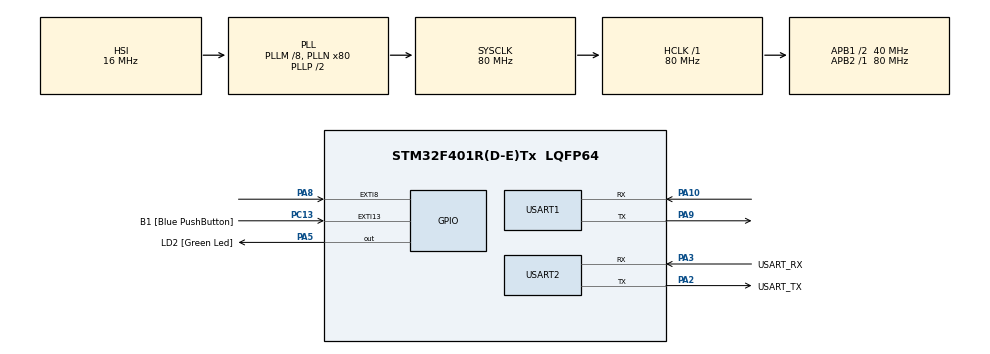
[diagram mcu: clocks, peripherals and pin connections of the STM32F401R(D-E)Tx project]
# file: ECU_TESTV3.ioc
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Mcu.Family=STM32F4
Mcu.Name=STM32F401R(D-E)Tx
Mcu.Package=LQFP64
NVIC.EXTI9_5_IRQn=true\:0\:0\:false\:false\:true\:true\:true\:true
NVIC.PriorityGroup=NVIC_PRIORITYGROUP_4
NVIC.TIM2_IRQn=true\:0\:0\:false\:false\:true\:true\:true\:true
PA10.Mode=Asynchronous
PA10.Signal=USART1_RX
PA13.GPIO_Label=TMS
PA13.Mode=Trace_Asynchronous_SW
PA13.Signal=SYS_JTMS-SWDIO
PA14.GPIO_Label=TCK
PA14.Mode=Trace_Asynchronous_SW
PA14.Signal=SYS_JTCK-SWCLK
PA2.GPIO_Label=USART_TX
PA2.GPIO_Mode=GPIO_MODE_AF_PP
PA2.GPIO_PuPd=GPIO_NOPULL
PA2.GPIO_Speed=GPIO_SPEED_FREQ_LOW
PA2.Mode=Asynchronous
PA2.Signal=USART2_TX
PA3.GPIO_Label=USART_RX
PA3.GPIO_Mode=GPIO_MODE_AF_PP
PA3.GPIO_PuPd=GPIO_NOPULL
PA3.GPIO_Speed=GPIO_SPEED_FREQ_LOW
PA3.Mode=Asynchronous
PA3.Signal=USART2_RX
PA5.GPIO_Label=LD2 [Green Led]
PA5.GPIO_Mode=GPIO_MODE_OUTPUT_PP
PA5.GPIO_PuPd=GPIO_NOPULL
PA5.GPIO_Speed=GPIO_SPEED_FREQ_LOW
PA5.Signal=GPIO_Output
PA8.GPIO_ModeDefaultEXTI=GPIO_MODE_IT_RISING
PA8.Signal=GPXTI8
PA9.Mode=Asynchronous
PA9.Signal=USART1_TX
PB3.GPIO_Label=SWO
PB3.Mode=Trace_Asynchronous_SW
PB3.Signal=SYS_JTDO-SWO
PC13-ANTI_TAMP.GPIO_Label=B1 [Blue PushButton]
PC13-ANTI_TAMP.GPIO_ModeDefaultEXTI=GPIO_MODE_IT_FALLING
PC13-ANTI_TAMP.GPIO_PuPd=GPIO_NOPULL
PC13-ANTI_TAMP.Signal=GPXTI13
PC14-OSC32_IN.Mode=LSE-External-Oscillator
PC14-OSC32_IN.Signal=RCC_OSC32_IN
PC15-OSC32_OUT.Mode=LSE-External-Oscillator
PC15-OSC32_OUT.Signal=RCC_OSC32_OUT
PH0\ -\ OSC_IN.Mode=HSE-External-Clock-Source
PH0\ -\ OSC_IN.Signal=RCC_OSC_IN
PH1\ -\ OSC_OUT.Mode=HSE-External-Clock-Source
PH1\ -\ OSC_OUT.Signal=RCC_OSC_OUT
ProjectManager.HeapSize=0x200
ProjectManager.StackSize=0x400
ProjectManager.TargetToolchain=Makefile
RCC.48MHZClocksFreq_Value=22857142.85714286
RCC.AHBFreq_Value=80000000
RCC.APB1CLKDivider=RCC_HCLK_DIV2
RCC.APB1Freq_Value=40000000
RCC.APB1TimFreq_Value=80000000
RCC.APB2Freq_Value=80000000
RCC.APB2TimFreq_Value=80000000
RCC.CortexFreq_Value=80000000
RCC.HCLKFreq_Value=80000000
RCC.HSE_VALUE=8000000
RCC.HSI_VALUE=16000000
RCC.PLLM=8
RCC.PLLN=80
RCC.PLLQ=7
RCC.SYSCLKFreq_VALUE=80000000
RCC.SYSCLKSource=RCC_SYSCLKSOURCE_PLLCLK
RCC.VCOOutputFreq_Value=160000000
TIM2.Period=4294967295
TIM2.Prescaler=7
USART1.VirtualMode=VM_ASYNC
USART2.VirtualMode=VM_ASYNC
VP_TIM2_VS_ClockSourceINT.Mode=Internal
board=NUCLEO-F401RE

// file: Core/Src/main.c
/* USER CODE BEGIN Header */
/**
  ******************************************************************************
  * @file           : main.c
  * @brief          : Main program body
  ******************************************************************************
  * @attention
  *
  * Copyright (c) 2025 STMicroelectronics.
  * All rights reserved.
  *
  * This software is licensed under terms that can be found in the LICENSE file
  * in the root directory of this software component.
  * If no LICENSE file comes with this software, it is provided AS-IS.
  *
  ******************************************************************************
  */
/* USER CODE END Header */
#include "main.h"

/* USER CODE BEGIN PD */
int COUNTER = 0;
int curr_tim2Counter = 0;
int prev_tim2Counter = 0;
int prev_prev_tim2Counter = 0;
float RPM = 0;
const float MusTOhz = 1000000.0;
const int HzToRPM = 60;
float frequency = 0;
double time_diff;
double time_diff_us;
int capturedValue = 0;
/* USER CODE END PD */

TIM_HandleTypeDef htim2;

UART_HandleTypeDef huart1;
UART_HandleTypeDef huart2;

void SystemClock_Config(void);
static void MX_GPIO_Init(void);
static void MX_USART2_UART_Init(void);
static void MX_TIM2_Init(void);
static void MX_USART1_UART_Init(void);

int main(void)
{

  /* MCU Configuration--------------------------------------------------------*/

  /* Reset of all peripherals, Initializes the Flash interface and the Systick. */
  HAL_Init();

  /* Configure the system clock */
  SystemClock_Config();

  /* Initialize all configured peripherals */
  MX_GPIO_Init();
  MX_USART2_UART_Init();
  MX_TIM2_Init();
  MX_USART1_UART_Init();
  /* USER CODE BEGIN 2 */
  HAL_TIM_Base_Start(&htim2);
  /* USER CODE END 2 */

  /* Infinite loop */
  while (1)
  {

  }
}

void SystemClock_Config(void)
{
  RCC_OscInitTypeDef RCC_OscInitStruct = {0};
  RCC_ClkInitTypeDef RCC_ClkInitStruct = {0};

  /** Configure the main internal regulator output voltage
  */
  __HAL_RCC_PWR_CLK_ENABLE();
  __HAL_PWR_VOLTAGESCALING_CONFIG(PWR_REGULATOR_VOLTAGE_SCALE2);

  /** Initializes the RCC Oscillators according to the specified parameters
  * in the RCC_OscInitTypeDef structure.
  */
  RCC_OscInitStruct.OscillatorType = RCC_OSCILLATORTYPE_HSI;
  RCC_OscInitStruct.HSIState = RCC_HSI_ON;
  RCC_OscInitStruct.HSICalibrationValue = RCC_HSICALIBRATION_DEFAULT;
  RCC_OscInitStruct.PLL.PLLState = RCC_PLL_ON;
  RCC_OscInitStruct.PLL.PLLSource = RCC_PLLSOURCE_HSI;
  RCC_OscInitStruct.PLL.PLLM = 8;
  RCC_OscInitStruct.PLL.PLLN = 80;
  RCC_OscInitStruct.PLL.PLLP = RCC_PLLP_DIV2;
  RCC_OscInitStruct.PLL.PLLQ = 7;
  if (HAL_RCC_OscConfig(&RCC_OscInitStruct) != HAL_OK)
  {
    Error_Handler();
  }

  /** Initializes the CPU, AHB and APB buses clocks
  */
  RCC_ClkInitStruct.ClockType = RCC_CLOCKTYPE_HCLK|RCC_CLOCKTYPE_SYSCLK
                              |RCC_CLOCKTYPE_PCLK1|RCC_CLOCKTYPE_PCLK2;
  RCC_ClkInitStruct.SYSCLKSource = RCC_SYSCLKSOURCE_PLLCLK;
  RCC_ClkInitStruct.AHBCLKDivider = RCC_SYSCLK_DIV1;
  RCC_ClkInitStruct.APB1CLKDivider = RCC_HCLK_DIV2;
  RCC_ClkInitStruct.APB2CLKDivider = RCC_HCLK_DIV1;

  if (HAL_RCC_ClockConfig(&RCC_ClkInitStruct, FLASH_LATENCY_2) != HAL_OK)
  {
    Error_Handler();
  }
}

static void MX_TIM2_Init(void)
{

  TIM_ClockConfigTypeDef sClockSourceConfig = {0};
  TIM_MasterConfigTypeDef sMasterConfig = {0};

  htim2.Instance = TIM2;
  htim2.Init.Prescaler = 7;
  htim2.Init.CounterMode = TIM_COUNTERMODE_UP;
  htim2.Init.Period = 4294967295;
  htim2.Init.ClockDivision = TIM_CLOCKDIVISION_DIV1;
  htim2.Init.AutoReloadPreload = TIM_AUTORELOAD_PRELOAD_DISABLE;
  if (HAL_TIM_Base_Init(&htim2) != HAL_OK)
  {
    Error_Handler();
  }
  sClockSourceConfig.ClockSource = TIM_CLOCKSOURCE_INTERNAL;
  if (HAL_TIM_ConfigClockSource(&htim2, &sClockSourceConfig) != HAL_OK)
  {
    Error_Handler();
  }
  sMasterConfig.MasterOutputTrigger = TIM_TRGO_RESET;
  sMasterConfig.MasterSlaveMode = TIM_MASTERSLAVEMODE_DISABLE;
  if (HAL_TIMEx_MasterConfigSynchronization(&htim2, &sMasterConfig) != HAL_OK)
  {
    Error_Handler();
  }

}

static void MX_USART1_UART_Init(void)
{

  huart1.Instance = USART1;
  huart1.Init.BaudRate = 115200;
  huart1.Init.WordLength = UART_WORDLENGTH_8B;
  huart1.Init.StopBits = UART_STOPBITS_1;
  huart1.Init.Parity = UART_PARITY_NONE;
  huart1.Init.Mode = UART_MODE_TX_RX;
  huart1.Init.HwFlowCtl = UART_HWCONTROL_NONE;
  huart1.Init.OverSampling = UART_OVERSAMPLING_16;
  if (HAL_UART_Init(&huart1) != HAL_OK)
  {
    Error_Handler();
  }

}

static void MX_USART2_UART_Init(void)
{

  huart2.Instance = USART2;
  huart2.Init.BaudRate = 115200;
  huart2.Init.WordLength = UART_WORDLENGTH_8B;
  huart2.Init.StopBits = UART_STOPBITS_1;
  huart2.Init.Parity = UART_PARITY_NONE;
  huart2.Init.Mode = UART_MODE_TX_RX;
  huart2.Init.HwFlowCtl = UART_HWCONTROL_NONE;
  huart2.Init.OverSampling = UART_OVERSAMPLING_16;
  if (HAL_UART_Init(&huart2) != HAL_OK)
  {
    Error_Handler();
  }

}

static void MX_GPIO_Init(void)
{
  GPIO_InitTypeDef GPIO_InitStruct = {0};

  /* GPIO Ports Clock Enable */
  __HAL_RCC_GPIOC_CLK_ENABLE();
  __HAL_RCC_GPIOH_CLK_ENABLE();
  __HAL_RCC_GPIOA_CLK_ENABLE();
  __HAL_RCC_GPIOB_CLK_ENABLE();

  /*Configure GPIO pin Output Level */
  HAL_GPIO_WritePin(LD2_GPIO_Port, LD2_Pin, GPIO_PIN_RESET);

  /*Configure GPIO pin : B1_Pin */
  GPIO_InitStruct.Pin = B1_Pin;
  GPIO_InitStruct.Mode = GPIO_MODE_IT_FALLING;
  GPIO_InitStruct.Pull = GPIO_NOPULL;
  HAL_GPIO_Init(B1_GPIO_Port, &GPIO_InitStruct);

  /*Configure GPIO pin : LD2_Pin */
  GPIO_InitStruct.Pin = LD2_Pin;
  GPIO_InitStruct.Mode = GPIO_MODE_OUTPUT_PP;
  GPIO_InitStruct.Pull = GPIO_NOPULL;
  GPIO_InitStruct.Speed = GPIO_SPEED_FREQ_LOW;
  HAL_GPIO_Init(LD2_GPIO_Port, &GPIO_InitStruct);

  /*Configure GPIO pin : PA8 */
  GPIO_InitStruct.Pin = GPIO_PIN_8;
  GPIO_InitStruct.Mode = GPIO_MODE_IT_RISING;
  GPIO_InitStruct.Pull = GPIO_NOPULL;
  HAL_GPIO_Init(GPIOA, &GPIO_InitStruct);

  /* EXTI interrupt init*/
  HAL_NVIC_SetPriority(EXTI9_5_IRQn, 0, 0);
  HAL_NVIC_EnableIRQ(EXTI9_5_IRQn);

}

/* USER CODE BEGIN 4 */

void HAL_GPIO_EXTI_Callback(uint16_t GPIO_Pin) {
    // Check if EXTI8 triggered the interrupt
    if (GPIO_Pin == GPIO_PIN_8)
    {
      // Retrieve the current timer count
      curr_tim2Counter = __HAL_TIM_GET_COUNTER(&htim2);

      // Check if we have at least two previous cycles
      if (COUNTER > 1)
      {
          if (curr_tim2Counter >= prev_prev_tim2Counter)
          {
              time_diff = curr_tim2Counter - prev_prev_tim2Counter;
              time_diff_us = time_diff / 10.0;
              frequency = MusTOhz / time_diff_us;  // Convert time_diff to Hz
          }
          else
          {
          // Handle timer overflow
              time_diff = (4294967295 - prev_prev_tim2Counter) + curr_tim2Counter + 1;
              time_diff_us = time_diff / 10.0;
              frequency = MusTOhz / time_diff_us;  // Convert time_diff to Hz
          }

          if (time_diff > 0)
          {
            RPM = frequency * HzToRPM;                   // Convert Hz to RPM
            RPM *= 2;   // Manually correcting for the fact that it's trigering on the rising and falling edge
          }
          else
          {
            RPM = -1;  // Error case
          }
      }
      else
      {
          RPM = -1;  // Not enough cycles to calculate RPM
      }

      // Update previous timer values for the next cycle
      prev_prev_tim2Counter = prev_tim2Counter;
      prev_tim2Counter = curr_tim2Counter;

      COUNTER++;
    }
}
/* USER CODE END 4 */

void Error_Handler(void)
{
  __disable_irq();
  while (1)
  {
  }
}
